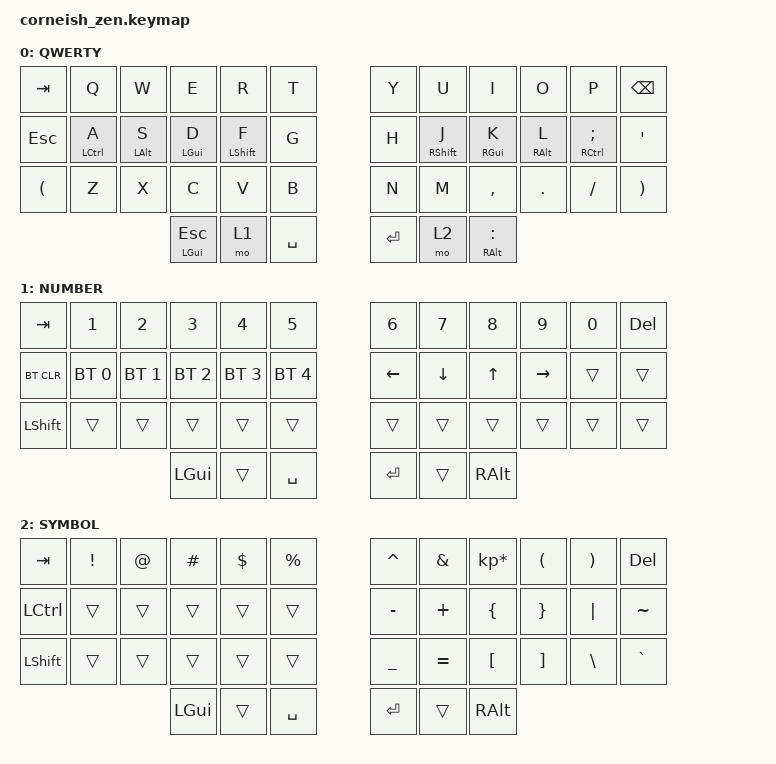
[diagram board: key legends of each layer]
/*
*
* Copyright (c) 2021 Darryl deHaan
* SPDX-License-Identifier: MIT
*
*/

#include <behaviors.dtsi>
#include <dt-bindings/zmk/keys.h>
#include <dt-bindings/zmk/bt.h>

/ {
  chosen {
    zmk,matrix_transform = &default_transform;
    //zmk,matrix_transform = &five_column_transform;
  };
};

/ {
	behaviors {
		hm: homerow_mods {
		compatible = "zmk,behavior-hold-tap";
		label = "HOMEROW_MODS";
		#binding-cells = <2>;
		tapping-term-ms = <150>;
		quick-tap-ms = <0>;
		flavor = "tap-preferred";
		bindings = <&kp>, <&kp>;
		};
	};

        keymap {
                compatible = "zmk,keymap";

                default_layer {
                        label = "QWERTY";
// -----------------------------------------------------------------------------------------
// |  TAB |  Q  |  W  |  E  |  R  |  T  |   |  Y  |  U   |  I  |  O  |  P  | BKSP |
// | ESC  |  A  |  S  |  D  |  F  |  G  |   |  H  |  J   |  K  |  L  |  ;  |  '   |
// |  (   |  Z  |  X  |  C  |  V  |  B  |   |  N  |  M   |  ,  |  .  |  /  |  )   |
//                    | GUI | LWR | SPC |   | ENT | RSE  | ALT |
                        bindings = <
   &kp TAB   &kp Q       &kp W      &kp E        &kp R       &kp T     &kp Y   &kp U       &kp I      &kp O      &kp P          &kp BSPC
   &kp ESC   &hm LCTRL A &hm LALT S &hm LGUI D   &hm LSHFT F &kp G     &kp H   &hm RSHFT J &hm RGUI K &hm RALT L &hm RCTRL SEMI &kp SQT
   &kp LPAR  &kp Z       &kp X      &kp C        &kp V       &kp B     &kp N   &kp M       &kp COMMA  &kp DOT    &kp FSLH       &kp RPAR
                                    &hm LGUI ESC &mo 1       &kp SPACE &kp RET &mo 2       &hm RALT COLON
                        >;
                };
                lower_layer {
                        label = "NUMBER";
// -----------------------------------------------------------------------------------------
// |  TAB |  1  |  2  |  3  |  4  |  5  |   |  6  |  7  |  8  |  9  |  0  | DEL  |
// | BTCLR| BT1 | BT2 | BT3 | BT4 | BT5 |   | LFT | DWN |  UP | RGT |     |      |
// | SHFT |     |     |     |     |     |   |     |     |     |     |     |      |
//                    | GUI |     | SPC |   | ENT |     | ALT |
                        bindings = <
   &kp TAB    &kp N1       &kp N2       &kp N3       &kp N4       &kp N5         &kp N6   &kp N7   &kp N8 &kp N9    &kp N0 &kp DEL
   &bt BT_CLR &bt BT_SEL 0 &bt BT_SEL 1 &bt BT_SEL 2 &bt BT_SEL 3 &bt BT_SEL 4   &kp LEFT &kp DOWN &kp UP &kp RIGHT &trans &trans
   &kp LSHFT  &trans       &trans       &trans       &trans       &trans         &trans   &trans   &trans &trans    &trans &trans
                          	        &kp LGUI     &trans       &kp SPACE      &kp RET  &trans   &kp RALT
                        >;
                };

                raise_layer {
                        label = "SYMBOL";
// -----------------------------------------------------------------------------------------
// |  TAB |  !  |  @  |  #  |  $  |  %  |   |  ^  |  &  |  *  |  (  |  )  | DEL  |
// | CTRL |     |     |     |     |     |   |  -  |  +  |  {  |  }  | "|" |  ~   |
// | SHFT |     |     |     |     |     |   |  _  |  =  |  [  |  ]  |  \  |  `   |
//                    | GUI |     | SPC |   | ENT |     | ALT |
                        bindings = <
   &kp  TAB  &kp EXCL &kp AT &kp HASH &kp DLLR &kp PRCNT   &kp CARET &kp AMPS  &kp KP_MULTIPLY &kp LPAR &kp RPAR &kp DEL
   &kp LCTRL &trans   &trans &trans   &trans   &trans      &kp MINUS &kp PLUS  &kp LBRC        &kp RBRC &kp PIPE &kp TILDE
   &kp LSHFT &trans   &trans &trans   &trans   &trans      &kp UNDER &kp EQUAL &kp LBKT        &kp RBKT &kp BSLH &kp GRAVE
                    	     &kp LGUI &trans   &kp SPACE   &kp RET   &trans    &kp RALT
                        >;
                };
        };
};
